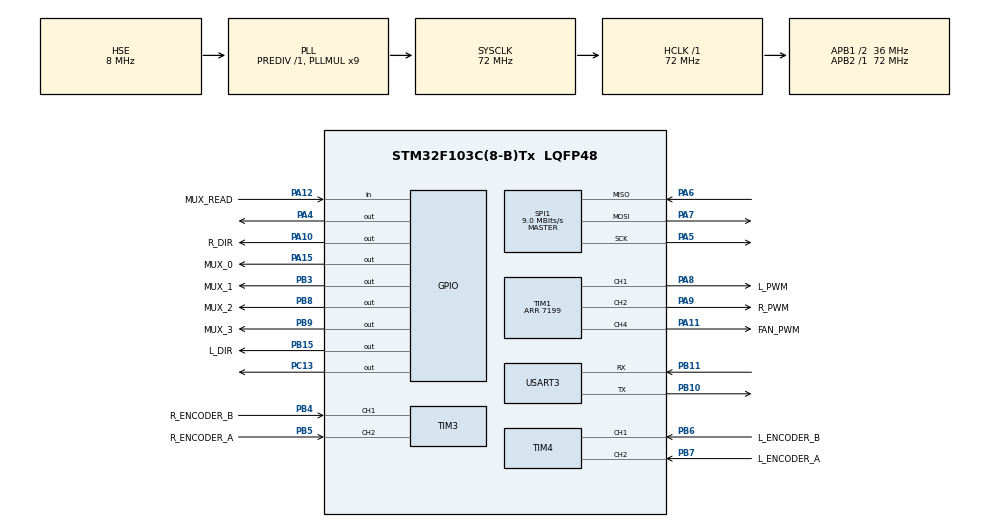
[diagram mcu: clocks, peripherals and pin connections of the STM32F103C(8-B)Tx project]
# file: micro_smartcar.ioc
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Dma.Request0=SPI1_RX
Dma.Request1=SPI1_TX
Dma.SPI1_RX.0.Direction=DMA_PERIPH_TO_MEMORY
Dma.SPI1_RX.0.Instance=DMA1_Channel2
Dma.SPI1_RX.0.MemDataAlignment=DMA_MDATAALIGN_BYTE
Dma.SPI1_RX.0.MemInc=DMA_MINC_ENABLE
Dma.SPI1_RX.0.Mode=DMA_NORMAL
Dma.SPI1_RX.0.PeriphDataAlignment=DMA_PDATAALIGN_BYTE
Dma.SPI1_RX.0.PeriphInc=DMA_PINC_DISABLE
Dma.SPI1_RX.0.Priority=DMA_PRIORITY_LOW
Dma.SPI1_TX.1.Direction=DMA_MEMORY_TO_PERIPH
Dma.SPI1_TX.1.Instance=DMA1_Channel3
Dma.SPI1_TX.1.MemDataAlignment=DMA_MDATAALIGN_BYTE
Dma.SPI1_TX.1.MemInc=DMA_MINC_ENABLE
Dma.SPI1_TX.1.Mode=DMA_NORMAL
Dma.SPI1_TX.1.PeriphDataAlignment=DMA_PDATAALIGN_BYTE
Dma.SPI1_TX.1.PeriphInc=DMA_PINC_DISABLE
Dma.SPI1_TX.1.Priority=DMA_PRIORITY_LOW
Mcu.Family=STM32F1
Mcu.Name=STM32F103C(8-B)Tx
Mcu.Package=LQFP48
NVIC.DMA1_Channel2_IRQn=true\:0\:0\:false\:false\:true\:false\:true\:true
NVIC.DMA1_Channel3_IRQn=true\:0\:0\:false\:false\:true\:false\:true\:true
NVIC.PriorityGroup=NVIC_PRIORITYGROUP_4
NVIC.RCC_IRQn=true\:0\:0\:false\:false\:true\:true\:false\:true
NVIC.SPI1_IRQn=true\:0\:0\:false\:false\:true\:true\:true\:true
NVIC.TIM2_IRQn=true\:1\:0\:true\:false\:true\:true\:true\:true
NVIC.TIM3_IRQn=true\:0\:0\:false\:false\:true\:true\:true\:true
NVIC.TIM4_IRQn=true\:0\:0\:false\:false\:true\:true\:true\:true
NVIC.USART3_IRQn=true\:0\:0\:false\:false\:true\:true\:true\:true
PA10.GPIO_Label=R_DIR
PA10.Signal=GPIO_Output
PA11.GPIO_Label=FAN_PWM
PA11.Signal=S_TIM1_CH4
PA12.GPIO_Label=MUX_READ
PA12.Signal=GPIO_Input
PA13.Mode=Serial_Wire
PA13.Signal=SYS_JTMS-SWDIO
PA14.Mode=Serial_Wire
PA14.Signal=SYS_JTCK-SWCLK
PA15.GPIO_Label=MUX_0
PA15.GPIO_Speed=GPIO_SPEED_FREQ_MEDIUM
PA15.Signal=GPIO_Output
PA4.GPIO_PuPd=GPIO_NOPULL
PA4.GPIO_Speed=GPIO_SPEED_FREQ_HIGH
PA4.Signal=GPIO_Output
PA5.Mode=Full_Duplex_Master
PA5.Signal=SPI1_SCK
PA6.Mode=Full_Duplex_Master
PA6.Signal=SPI1_MISO
PA7.Mode=Full_Duplex_Master
PA7.Signal=SPI1_MOSI
PA8.GPIO_Label=L_PWM
PA8.Signal=S_TIM1_CH1
PA9.GPIO_Label=R_PWM
PA9.Signal=S_TIM1_CH2
PB10.Mode=Asynchronous
PB10.Signal=USART3_TX
PB11.Mode=Asynchronous
PB11.Signal=USART3_RX
PB15.GPIO_Label=L_DIR
PB15.Signal=GPIO_Output
PB3.GPIO_Label=MUX_1
PB3.GPIO_Speed=GPIO_SPEED_FREQ_MEDIUM
PB3.Signal=GPIO_Output
PB4.GPIO_Label=R_ENCODER_B
PB4.Signal=S_TIM3_CH1
PB5.GPIO_Label=R_ENCODER_A
PB5.Signal=S_TIM3_CH2
PB6.GPIO_Label=L_ENCODER_B
PB6.Signal=S_TIM4_CH1
PB7.GPIO_Label=L_ENCODER_A
PB7.Signal=S_TIM4_CH2
PB8.GPIO_Label=MUX_2
PB8.GPIO_Speed=GPIO_SPEED_FREQ_MEDIUM
PB8.Signal=GPIO_Output
PB9.GPIO_Label=MUX_3
PB9.GPIO_Speed=GPIO_SPEED_FREQ_MEDIUM
PB9.Signal=GPIO_Output
PC13-TAMPER-RTC.GPIO_ModeDefaultOutputPP=GPIO_MODE_OUTPUT_OD
PC13-TAMPER-RTC.GPIO_PuPd=GPIO_NOPULL
PC13-TAMPER-RTC.Signal=GPIO_Output
PD0-OSC_IN.Mode=HSE-External-Oscillator
PD0-OSC_IN.Signal=RCC_OSC_IN
PD1-OSC_OUT.Mode=HSE-External-Oscillator
PD1-OSC_OUT.Signal=RCC_OSC_OUT
ProjectManager.HeapSize=0x200
ProjectManager.StackSize=0x400
ProjectManager.TargetToolchain=MDK-ARM V5.32
RCC.AHBFreq_Value=72000000
RCC.APB1CLKDivider=RCC_HCLK_DIV2
RCC.APB1Freq_Value=36000000
RCC.APB1TimFreq_Value=72000000
RCC.APB2Freq_Value=72000000
RCC.APB2TimFreq_Value=72000000
RCC.HCLKFreq_Value=72000000
RCC.PLLMUL=RCC_PLL_MUL9
RCC.PLLSourceVirtual=RCC_PLLSOURCE_HSE
RCC.SYSCLKFreq_VALUE=72000000
RCC.SYSCLKSource=RCC_SYSCLKSOURCE_PLLCLK
RCC.USBFreq_Value=72000000
SH.S_TIM1_CH1.0=TIM1_CH1,PWM Generation1 CH1
SH.S_TIM1_CH2.0=TIM1_CH2,PWM Generation2 CH2
SH.S_TIM1_CH4.0=TIM1_CH4,PWM Generation4 CH4
SH.S_TIM3_CH1.0=TIM3_CH1,Encoder_Interface
SH.S_TIM3_CH2.0=TIM3_CH2,Encoder_Interface
SH.S_TIM4_CH1.0=TIM4_CH1,Encoder_Interface
SH.S_TIM4_CH2.0=TIM4_CH2,Encoder_Interface
SPI1.BaudRatePrescaler=SPI_BAUDRATEPRESCALER_8
SPI1.CalculateBaudRate=9.0 MBits/s
SPI1.Direction=SPI_DIRECTION_2LINES
SPI1.Mode=SPI_MODE_MASTER
SPI1.VirtualType=VM_MASTER
TIM1.Channel-PWM\ Generation1\ CH1=TIM_CHANNEL_1
TIM1.Channel-PWM\ Generation2\ CH2=TIM_CHANNEL_2
TIM1.Channel-PWM\ Generation4\ CH4=TIM_CHANNEL_4
TIM1.Period=7199
TIM2.Period=999
TIM2.Prescaler=71
TIM3.EncoderMode=TIM_ENCODERMODE_TI12
TIM4.EncoderMode=TIM_ENCODERMODE_TI12
USART3.VirtualMode=VM_ASYNC
VP_TIM1_VS_ClockSourceINT.Mode=Internal
VP_TIM2_VS_ClockSourceINT.Mode=Internal
board=custom

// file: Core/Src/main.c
/* USER CODE BEGIN Header */
/**
  ******************************************************************************
  * @file           : main.c
  * @brief          : Main program body
  ******************************************************************************
  * @attention
  *
  * Copyright (c) 2025 STMicroelectronics.
  * All rights reserved.
  *
  * This software is licensed under terms that can be found in the LICENSE file
  * in the root directory of this software component.
  * If no LICENSE file comes with this software, it is provided AS-IS.
  *
  ******************************************************************************
  */
/* USER CODE END Header */
#include "main.h"

/* USER CODE BEGIN Includes */
#include "dodo_BMI270.h" //�?螺仪驱动
#include "multiplexer.h"//多路复用器驱动，用于读取光电管读�?
#include "stdio.h"
#include "motor_control.h"
/* USER CODE END Includes */

SPI_HandleTypeDef hspi1;
DMA_HandleTypeDef hdma_spi1_rx;
DMA_HandleTypeDef hdma_spi1_tx;

TIM_HandleTypeDef htim1;
TIM_HandleTypeDef htim2;
TIM_HandleTypeDef htim3;
TIM_HandleTypeDef htim4;

UART_HandleTypeDef huart3;

void SystemClock_Config(void);
static void MX_GPIO_Init(void);
static void MX_DMA_Init(void);
static void MX_SPI1_Init(void);
static void MX_TIM1_Init(void);
static void MX_TIM2_Init(void);
static void MX_TIM3_Init(void);
static void MX_USART3_UART_Init(void);
static void MX_TIM4_Init(void);

/* USER CODE BEGIN 0 */
int fputc(int ch, FILE *f)
{
  HAL_UART_Transmit(&huart3, (uint8_t *)&ch, 1, 0xffff);
  return ch;
}
/* USER CODE END 0 */

int main(void)
{

  /* MCU Configuration--------------------------------------------------------*/

  /* Reset of all peripherals, Initializes the Flash interface and the Systick. */
  HAL_Init();

  /* Configure the system clock */
  SystemClock_Config();

  /* Initialize all configured peripherals */
  MX_GPIO_Init();
  MX_DMA_Init();
  MX_SPI1_Init();
  MX_TIM1_Init();
  MX_TIM2_Init();
  MX_TIM3_Init();
  MX_USART3_UART_Init();
  MX_TIM4_Init();
  /* USER CODE BEGIN 2 */
	dodo_BMI270_init();//初始化陀螺仪
	HAL_TIM_Encoder_Start(&htim3, TIM_CHANNEL_ALL);
	HAL_TIM_Encoder_Start(&htim4, TIM_CHANNEL_ALL);
	HAL_TIM_PWM_Start(&htim1, TIM_CHANNEL_ALL);
	HAL_TIM_Base_Start_IT(&htim2);
  /* USER CODE END 2 */

  /* Infinite loop */
  /* USER CODE BEGIN WHILE */
  while (1)
  {
	  printf("Hello World!");
    uint16_t mux_value;
    float gyro_z;					//stm32f103c8t6不支持浮点数（FPU）运算，引入浮点运算可能会慢
    float left_encoder_speed;
    float right_encoder_speed;
    MUX_get_value(&mux_value);

    // 读取陀螺仪数据
    dodo_BMI270_get_data();
    gyro_z = BMI270_gyro_transition(BMI270_gyro_z);

    // 读取编码器速度
    left_encoder_speed = (int16_t)__HAL_TIM_GET_COUNTER(&htim4);
	__HAL_TIM_SET_COUNTER(&htim4, 0);
    right_encoder_speed = (int16_t)__HAL_TIM_GET_COUNTER(&htim3);
    __HAL_TIM_SET_COUNTER(&htim3, 0);
    // 执行串级PID控制
    cascade_pid_control(mux_value, gyro_z, left_encoder_speed, right_encoder_speed);

    // 控制周期延时
    HAL_Delay(10);

    /* USER CODE END WHILE */

  }
}
void SystemClock_Config(void)
{
  RCC_OscInitTypeDef RCC_OscInitStruct = {0};
  RCC_ClkInitTypeDef RCC_ClkInitStruct = {0};

  /** Initializes the RCC Oscillators according to the specified parameters
  * in the RCC_OscInitTypeDef structure.
  */
  RCC_OscInitStruct.OscillatorType = RCC_OSCILLATORTYPE_HSE;
  RCC_OscInitStruct.HSEState = RCC_HSE_ON;
  RCC_OscInitStruct.HSEPredivValue = RCC_HSE_PREDIV_DIV1;
  RCC_OscInitStruct.HSIState = RCC_HSI_ON;
  RCC_OscInitStruct.PLL.PLLState = RCC_PLL_ON;
  RCC_OscInitStruct.PLL.PLLSource = RCC_PLLSOURCE_HSE;
  RCC_OscInitStruct.PLL.PLLMUL = RCC_PLL_MUL9;
  if (HAL_RCC_OscConfig(&RCC_OscInitStruct) != HAL_OK)
  {
    Error_Handler();
  }

  /** Initializes the CPU, AHB and APB buses clocks
  */
  RCC_ClkInitStruct.ClockType = RCC_CLOCKTYPE_HCLK|RCC_CLOCKTYPE_SYSCLK
                              |RCC_CLOCKTYPE_PCLK1|RCC_CLOCKTYPE_PCLK2;
  RCC_ClkInitStruct.SYSCLKSource = RCC_SYSCLKSOURCE_PLLCLK;
  RCC_ClkInitStruct.AHBCLKDivider = RCC_SYSCLK_DIV1;
  RCC_ClkInitStruct.APB1CLKDivider = RCC_HCLK_DIV2;
  RCC_ClkInitStruct.APB2CLKDivider = RCC_HCLK_DIV1;

  if (HAL_RCC_ClockConfig(&RCC_ClkInitStruct, FLASH_LATENCY_2) != HAL_OK)
  {
    Error_Handler();
  }
}

static void MX_SPI1_Init(void)
{

  /* SPI1 parameter configuration*/
  hspi1.Instance = SPI1;
  hspi1.Init.Mode = SPI_MODE_MASTER;
  hspi1.Init.Direction = SPI_DIRECTION_2LINES;
  hspi1.Init.DataSize = SPI_DATASIZE_8BIT;
  hspi1.Init.CLKPolarity = SPI_POLARITY_LOW;
  hspi1.Init.CLKPhase = SPI_PHASE_1EDGE;
  hspi1.Init.NSS = SPI_NSS_SOFT;
  hspi1.Init.BaudRatePrescaler = SPI_BAUDRATEPRESCALER_8;
  hspi1.Init.FirstBit = SPI_FIRSTBIT_MSB;
  hspi1.Init.TIMode = SPI_TIMODE_DISABLE;
  hspi1.Init.CRCCalculation = SPI_CRCCALCULATION_DISABLE;
  hspi1.Init.CRCPolynomial = 10;
  if (HAL_SPI_Init(&hspi1) != HAL_OK)
  {
    Error_Handler();
  }

}

static void MX_TIM1_Init(void)
{

  TIM_ClockConfigTypeDef sClockSourceConfig = {0};
  TIM_MasterConfigTypeDef sMasterConfig = {0};
  TIM_OC_InitTypeDef sConfigOC = {0};
  TIM_BreakDeadTimeConfigTypeDef sBreakDeadTimeConfig = {0};

  htim1.Instance = TIM1;
  htim1.Init.Prescaler = 0;
  htim1.Init.CounterMode = TIM_COUNTERMODE_UP;
  htim1.Init.Period = 7199;
  htim1.Init.ClockDivision = TIM_CLOCKDIVISION_DIV1;
  htim1.Init.RepetitionCounter = 0;
  htim1.Init.AutoReloadPreload = TIM_AUTORELOAD_PRELOAD_DISABLE;
  if (HAL_TIM_Base_Init(&htim1) != HAL_OK)
  {
    Error_Handler();
  }
  sClockSourceConfig.ClockSource = TIM_CLOCKSOURCE_INTERNAL;
  if (HAL_TIM_ConfigClockSource(&htim1, &sClockSourceConfig) != HAL_OK)
  {
    Error_Handler();
  }
  if (HAL_TIM_PWM_Init(&htim1) != HAL_OK)
  {
    Error_Handler();
  }
  sMasterConfig.MasterOutputTrigger = TIM_TRGO_RESET;
  sMasterConfig.MasterSlaveMode = TIM_MASTERSLAVEMODE_DISABLE;
  if (HAL_TIMEx_MasterConfigSynchronization(&htim1, &sMasterConfig) != HAL_OK)
  {
    Error_Handler();
  }
  sConfigOC.OCMode = TIM_OCMODE_PWM1;
  sConfigOC.Pulse = 0;
  sConfigOC.OCPolarity = TIM_OCPOLARITY_HIGH;
  sConfigOC.OCNPolarity = TIM_OCNPOLARITY_HIGH;
  sConfigOC.OCFastMode = TIM_OCFAST_DISABLE;
  sConfigOC.OCIdleState = TIM_OCIDLESTATE_RESET;
  sConfigOC.OCNIdleState = TIM_OCNIDLESTATE_RESET;
  if (HAL_TIM_PWM_ConfigChannel(&htim1, &sConfigOC, TIM_CHANNEL_1) != HAL_OK)
  {
    Error_Handler();
  }
  if (HAL_TIM_PWM_ConfigChannel(&htim1, &sConfigOC, TIM_CHANNEL_2) != HAL_OK)
  {
    Error_Handler();
  }
  if (HAL_TIM_PWM_ConfigChannel(&htim1, &sConfigOC, TIM_CHANNEL_4) != HAL_OK)
  {
    Error_Handler();
  }
  sBreakDeadTimeConfig.OffStateRunMode = TIM_OSSR_DISABLE;
  sBreakDeadTimeConfig.OffStateIDLEMode = TIM_OSSI_DISABLE;
  sBreakDeadTimeConfig.LockLevel = TIM_LOCKLEVEL_OFF;
  sBreakDeadTimeConfig.DeadTime = 0;
  sBreakDeadTimeConfig.BreakState = TIM_BREAK_DISABLE;
  sBreakDeadTimeConfig.BreakPolarity = TIM_BREAKPOLARITY_HIGH;
  sBreakDeadTimeConfig.AutomaticOutput = TIM_AUTOMATICOUTPUT_DISABLE;
  if (HAL_TIMEx_ConfigBreakDeadTime(&htim1, &sBreakDeadTimeConfig) != HAL_OK)
  {
    Error_Handler();
  }
  HAL_TIM_MspPostInit(&htim1);

}

static void MX_TIM2_Init(void)
{

  TIM_ClockConfigTypeDef sClockSourceConfig = {0};
  TIM_MasterConfigTypeDef sMasterConfig = {0};

  htim2.Instance = TIM2;
  htim2.Init.Prescaler = 71;
  htim2.Init.CounterMode = TIM_COUNTERMODE_UP;
  htim2.Init.Period = 999;
  htim2.Init.ClockDivision = TIM_CLOCKDIVISION_DIV1;
  htim2.Init.AutoReloadPreload = TIM_AUTORELOAD_PRELOAD_DISABLE;
  if (HAL_TIM_Base_Init(&htim2) != HAL_OK)
  {
    Error_Handler();
  }
  sClockSourceConfig.ClockSource = TIM_CLOCKSOURCE_INTERNAL;
  if (HAL_TIM_ConfigClockSource(&htim2, &sClockSourceConfig) != HAL_OK)
  {
    Error_Handler();
  }
  sMasterConfig.MasterOutputTrigger = TIM_TRGO_RESET;
  sMasterConfig.MasterSlaveMode = TIM_MASTERSLAVEMODE_DISABLE;
  if (HAL_TIMEx_MasterConfigSynchronization(&htim2, &sMasterConfig) != HAL_OK)
  {
    Error_Handler();
  }

}

static void MX_TIM3_Init(void)
{

  TIM_Encoder_InitTypeDef sConfig = {0};
  TIM_MasterConfigTypeDef sMasterConfig = {0};

  htim3.Instance = TIM3;
  htim3.Init.Prescaler = 0;
  htim3.Init.CounterMode = TIM_COUNTERMODE_UP;
  htim3.Init.Period = 65535;
  htim3.Init.ClockDivision = TIM_CLOCKDIVISION_DIV1;
  htim3.Init.AutoReloadPreload = TIM_AUTORELOAD_PRELOAD_DISABLE;
  sConfig.EncoderMode = TIM_ENCODERMODE_TI12;
  sConfig.IC1Polarity = TIM_ICPOLARITY_RISING;
  sConfig.IC1Selection = TIM_ICSELECTION_DIRECTTI;
  sConfig.IC1Prescaler = TIM_ICPSC_DIV1;
  sConfig.IC1Filter = 0;
  sConfig.IC2Polarity = TIM_ICPOLARITY_RISING;
  sConfig.IC2Selection = TIM_ICSELECTION_DIRECTTI;
  sConfig.IC2Prescaler = TIM_ICPSC_DIV1;
  sConfig.IC2Filter = 0;
  if (HAL_TIM_Encoder_Init(&htim3, &sConfig) != HAL_OK)
  {
    Error_Handler();
  }
  sMasterConfig.MasterOutputTrigger = TIM_TRGO_RESET;
  sMasterConfig.MasterSlaveMode = TIM_MASTERSLAVEMODE_DISABLE;
  if (HAL_TIMEx_MasterConfigSynchronization(&htim3, &sMasterConfig) != HAL_OK)
  {
    Error_Handler();
  }

}

static void MX_TIM4_Init(void)
{

  TIM_Encoder_InitTypeDef sConfig = {0};
  TIM_MasterConfigTypeDef sMasterConfig = {0};

  htim4.Instance = TIM4;
  htim4.Init.Prescaler = 0;
  htim4.Init.CounterMode = TIM_COUNTERMODE_UP;
  htim4.Init.Period = 65535;
  htim4.Init.ClockDivision = TIM_CLOCKDIVISION_DIV1;
  htim4.Init.AutoReloadPreload = TIM_AUTORELOAD_PRELOAD_DISABLE;
  sConfig.EncoderMode = TIM_ENCODERMODE_TI12;
  sConfig.IC1Polarity = TIM_ICPOLARITY_RISING;
  sConfig.IC1Selection = TIM_ICSELECTION_DIRECTTI;
  sConfig.IC1Prescaler = TIM_ICPSC_DIV1;
  sConfig.IC1Filter = 0;
  sConfig.IC2Polarity = TIM_ICPOLARITY_RISING;
  sConfig.IC2Selection = TIM_ICSELECTION_DIRECTTI;
  sConfig.IC2Prescaler = TIM_ICPSC_DIV1;
  sConfig.IC2Filter = 0;
  if (HAL_TIM_Encoder_Init(&htim4, &sConfig) != HAL_OK)
  {
    Error_Handler();
  }
  sMasterConfig.MasterOutputTrigger = TIM_TRGO_RESET;
  sMasterConfig.MasterSlaveMode = TIM_MASTERSLAVEMODE_DISABLE;
  if (HAL_TIMEx_MasterConfigSynchronization(&htim4, &sMasterConfig) != HAL_OK)
  {
    Error_Handler();
  }

}

static void MX_USART3_UART_Init(void)
{

  huart3.Instance = USART3;
  huart3.Init.BaudRate = 115200;
  huart3.Init.WordLength = UART_WORDLENGTH_8B;
  huart3.Init.StopBits = UART_STOPBITS_1;
  huart3.Init.Parity = UART_PARITY_NONE;
  huart3.Init.Mode = UART_MODE_TX_RX;
  huart3.Init.HwFlowCtl = UART_HWCONTROL_NONE;
  huart3.Init.OverSampling = UART_OVERSAMPLING_16;
  if (HAL_UART_Init(&huart3) != HAL_OK)
  {
    Error_Handler();
  }

}

static void MX_DMA_Init(void)
{

  /* DMA controller clock enable */
  __HAL_RCC_DMA1_CLK_ENABLE();

  /* DMA interrupt init */
  /* DMA1_Channel2_IRQn interrupt configuration */
  HAL_NVIC_SetPriority(DMA1_Channel2_IRQn, 0, 0);
  HAL_NVIC_EnableIRQ(DMA1_Channel2_IRQn);
  /* DMA1_Channel3_IRQn interrupt configuration */
  HAL_NVIC_SetPriority(DMA1_Channel3_IRQn, 0, 0);
  HAL_NVIC_EnableIRQ(DMA1_Channel3_IRQn);

}

static void MX_GPIO_Init(void)
{
  GPIO_InitTypeDef GPIO_InitStruct = {0};

  /* GPIO Ports Clock Enable */
  __HAL_RCC_GPIOC_CLK_ENABLE();
  __HAL_RCC_GPIOD_CLK_ENABLE();
  __HAL_RCC_GPIOA_CLK_ENABLE();
  __HAL_RCC_GPIOB_CLK_ENABLE();

  /*Configure GPIO pin Output Level */
  HAL_GPIO_WritePin(GPIOC, GPIO_PIN_13, GPIO_PIN_RESET);

  /*Configure GPIO pin Output Level */
  HAL_GPIO_WritePin(GPIOA, GPIO_PIN_4|R_DIR_Pin|MUX_0_Pin, GPIO_PIN_RESET);

  /*Configure GPIO pin Output Level */
  HAL_GPIO_WritePin(GPIOB, L_DIR_Pin|MUX_1_Pin|MUX_2_Pin|MUX_3_Pin, GPIO_PIN_RESET);

  /*Configure GPIO pin : PC13 */
  GPIO_InitStruct.Pin = GPIO_PIN_13;
  GPIO_InitStruct.Mode = GPIO_MODE_OUTPUT_OD;
  GPIO_InitStruct.Pull = GPIO_NOPULL;
  GPIO_InitStruct.Speed = GPIO_SPEED_FREQ_LOW;
  HAL_GPIO_Init(GPIOC, &GPIO_InitStruct);

  /*Configure GPIO pin : PA4 */
  GPIO_InitStruct.Pin = GPIO_PIN_4;
  GPIO_InitStruct.Mode = GPIO_MODE_OUTPUT_PP;
  GPIO_InitStruct.Pull = GPIO_NOPULL;
  GPIO_InitStruct.Speed = GPIO_SPEED_FREQ_HIGH;
  HAL_GPIO_Init(GPIOA, &GPIO_InitStruct);

  /*Configure GPIO pin : L_DIR_Pin */
  GPIO_InitStruct.Pin = L_DIR_Pin;
  GPIO_InitStruct.Mode = GPIO_MODE_OUTPUT_PP;
  GPIO_InitStruct.Pull = GPIO_NOPULL;
  GPIO_InitStruct.Speed = GPIO_SPEED_FREQ_LOW;
  HAL_GPIO_Init(L_DIR_GPIO_Port, &GPIO_InitStruct);

  /*Configure GPIO pin : R_DIR_Pin */
  GPIO_InitStruct.Pin = R_DIR_Pin;
  GPIO_InitStruct.Mode = GPIO_MODE_OUTPUT_PP;
  GPIO_InitStruct.Pull = GPIO_NOPULL;
  GPIO_InitStruct.Speed = GPIO_SPEED_FREQ_LOW;
  HAL_GPIO_Init(R_DIR_GPIO_Port, &GPIO_InitStruct);

  /*Configure GPIO pin : MUX_READ_Pin */
  GPIO_InitStruct.Pin = MUX_READ_Pin;
  GPIO_InitStruct.Mode = GPIO_MODE_INPUT;
  GPIO_InitStruct.Pull = GPIO_NOPULL;
  HAL_GPIO_Init(MUX_READ_GPIO_Port, &GPIO_InitStruct);

  /*Configure GPIO pin : MUX_0_Pin */
  GPIO_InitStruct.Pin = MUX_0_Pin;
  GPIO_InitStruct.Mode = GPIO_MODE_OUTPUT_PP;
  GPIO_InitStruct.Pull = GPIO_NOPULL;
  GPIO_InitStruct.Speed = GPIO_SPEED_FREQ_MEDIUM;
  HAL_GPIO_Init(MUX_0_GPIO_Port, &GPIO_InitStruct);

  /*Configure GPIO pins : MUX_1_Pin MUX_2_Pin MUX_3_Pin */
  GPIO_InitStruct.Pin = MUX_1_Pin|MUX_2_Pin|MUX_3_Pin;
  GPIO_InitStruct.Mode = GPIO_MODE_OUTPUT_PP;
  GPIO_InitStruct.Pull = GPIO_NOPULL;
  GPIO_InitStruct.Speed = GPIO_SPEED_FREQ_MEDIUM;
  HAL_GPIO_Init(GPIOB, &GPIO_InitStruct);

}

void Error_Handler(void)
{
  __disable_irq();
  while (1)
  {
  }
}
